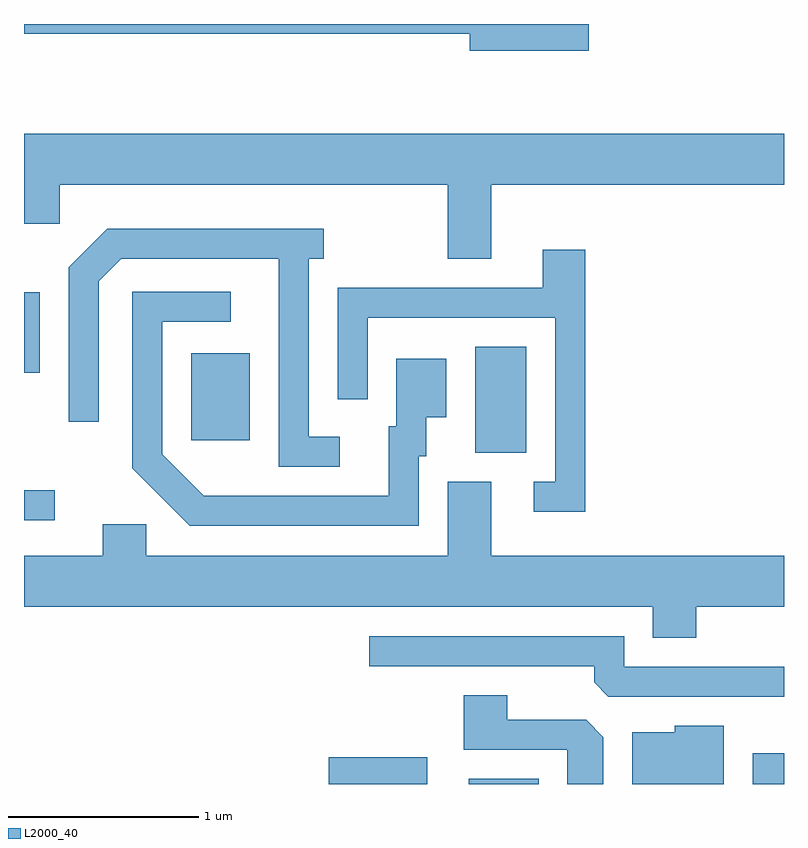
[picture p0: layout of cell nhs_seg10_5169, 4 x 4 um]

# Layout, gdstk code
import gdstk
lib = gdstk.Library(unit=1e-6, precision=1e-09)
def R(c, l, rs):  # rectangles x0, y0, x1, y1
    for r in rs: c.add(gdstk.rectangle(r[:2], r[2:], *l))
def P(c, l, *ps):  # polygons
    for p in ps: c.add(gdstk.Polygon(p, *l))
L2000_40 = (2000, 40)

nhs_seg10_5169 = lib.new_cell('nhs_seg10_5169')
R(nhs_seg10_5169, L2000_40, [(339.216,2128.522,339.734,2128.664), (339.951,2128.522,340.319,2128.549), (341.446,2128.522,341.611,2128.684), (337.611,2129.911,337.773,2130.069), (339.986,2130.266,340.254,2130.824), (338.491,2130.331,338.799,2130.789), (337.611,2130.686,337.694,2131.109)])
P(nhs_seg10_5169, L2000_40, [(340.584,2132.522),(337.611,2132.522),(337.611,2132.471),(339.956,2132.471),(339.956,2132.381),(340.584,2132.381)],
  [(340.069,2131.676),(341.611,2131.676),(341.611,2131.944),(337.611,2131.944),(337.611,2131.471),(337.799,2131.471),(337.799,2131.676),(339.841,2131.676),(339.841,2131.286),(340.069,2131.286)],
  [(339.273,2130.349),(339.109,2130.349),(339.109,2131.286),(339.188,2131.286),(339.188,2131.444),(338.049,2131.444),(337.846,2131.242),(337.846,2130.428),(338.004,2130.428),(338.004,2131.169),(338.122,2131.286),(338.951,2131.286),(338.951,2130.191),(339.273,2130.191)],
  [(340.564,2131.334),(340.341,2131.334),(340.341,2131.134),(339.261,2131.134),(339.261,2130.548),(339.419,2130.548),(339.419,2130.976),(340.406,2130.976),(340.406,2130.114),(340.293,2130.114),(340.293,2129.956),(340.564,2129.956)],
  [(339.689,2130.246),(339.729,2130.246),(339.729,2130.451),(339.834,2130.451),(339.834,2130.759),(339.571,2130.759),(339.571,2130.404),(339.531,2130.404),(339.531,2130.039),(338.557,2130.039),(338.339,2130.257),(338.339,2130.956),(338.698,2130.956),(338.698,2131.114),(338.181,2131.114),(338.181,2130.184),(338.484,2129.881),(339.689,2129.881)],
  [(341.149,2129.456),(341.611,2129.456),(341.611,2129.724),(340.069,2129.724),(340.069,2130.114),(339.841,2130.114),(339.841,2129.724),(338.254,2129.724),(338.254,2129.889),(338.026,2129.889),(338.026,2129.724),(337.611,2129.724),(337.611,2129.456),(340.921,2129.456),(340.921,2129.291),(341.149,2129.291)],
  [(341.611,2129.139),(340.769,2129.139),(340.769,2129.299),(339.428,2129.299),(339.428,2129.141),(340.611,2129.141),(340.611,2129.057),(340.687,2128.981),(341.611,2128.981)],
  [(340.659,2128.769),(340.569,2128.859),(340.154,2128.859),(340.154,2128.989),(339.926,2128.989),(339.926,2128.701),(340.471,2128.701),(340.471,2128.522),(340.659,2128.522)],
  [(341.294,2128.829),(341.036,2128.829),(341.036,2128.794),(340.811,2128.794),(340.811,2128.522),(341.294,2128.522)])

lib.write_gds('nhs_seg10_5169.gds')
